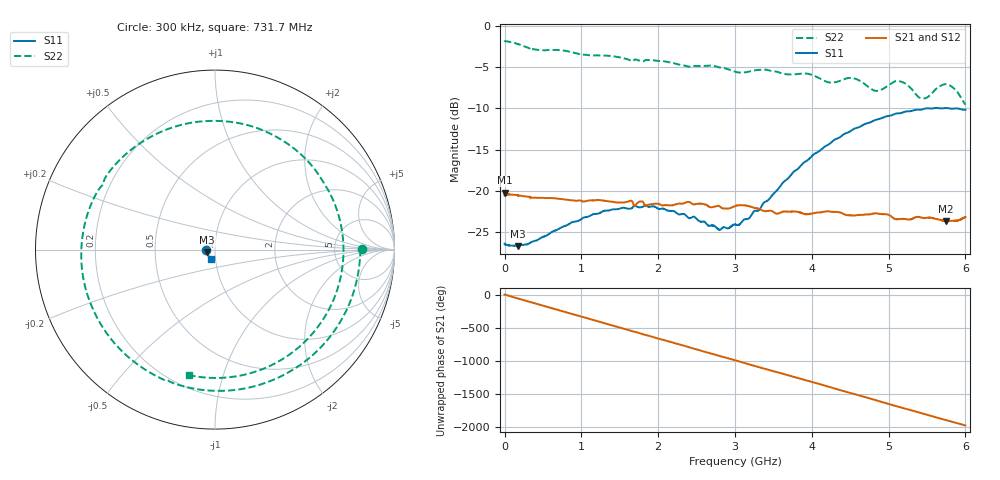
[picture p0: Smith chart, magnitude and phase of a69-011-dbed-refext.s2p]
!  3/18/2021  20:34:52
! Ref Plane: 13.288 mm
# MHZ S MA R  50
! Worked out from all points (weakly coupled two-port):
!   10001 points, 300 kHz to 6 GHz, reference 50 ohm
!   highest |S21| = -20.24 dB at 300 kHz (marker M1); lowest = -23.7 dB at 5.744 GHz (marker M2)
!   lowest |S11| = -26.7 dB at 174.3 MHz (marker M3), VSWR 1.10, Z = 45.8 - j1.35 ohm
!   |S11| at or under -10 dB: start of sweep to 5.482 GHz; 5.792 GHz to 5.873 GHz (81.02 MHz wide, 1.39 % of centre); 5.9 GHz to end of sweep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
!   |S22| runs from -9.5 to -1.7 dB; largest |S21 - S12| = 0.0025
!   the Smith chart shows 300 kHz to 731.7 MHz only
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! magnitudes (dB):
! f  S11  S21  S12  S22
! 300 kHz  -26.4  -20.2  -20.4  -1.7
! 174.3 MHz  -26.7  -20.6  -20.6  -2.2
! 402.3 MHz  -26.1  -20.8  -20.9  -2.9
! 1 GHz  -23.4  -21.2  -21.2  -3.5
! 1.537 GHz  -22.1  -21.4  -21.4  -3.9
! 1.837 GHz  -21.8  -21.9  -21.9  -4.1
! 2.001 GHz  -22.2  -21.6  -21.6  -4.2
! 2.472 GHz  -23.2  -21.6  -21.7  -4.8
! 2.791 GHz  -24.7  -21.8  -21.9  -5.0
! 3 GHz  -24.1  -21.9  -21.9  -5.5
! 3.312 GHz  -22.3  -22.2  -22.2  -5.3
! 3.548 GHz  -19.9  -22.8  -22.8  -5.5
! 4 GHz  -15.8  -22.8  -22.8  -5.9
! 4.241 GHz  -14.2  -22.5  -22.5  -6.9
! 4.548 GHz  -12.5  -23.0  -23.0  -6.3
! 4.832 GHz  -11.4  -22.7  -22.7  -7.9
! 5 GHz  -10.9  -22.9  -23.0  -7.2
! 5.178 GHz  -10.5  -23.4  -23.4  -6.8
! 5.455 GHz  -10.1  -23.3  -23.3  -8.8
! 5.744 GHz  -10.0  -23.7  -23.7  -7.0
! 5.866 GHz  -10.0  -23.6  -23.6  -7.7
! 6 GHz  -10.2  -23.2  -23.2  -9.5
